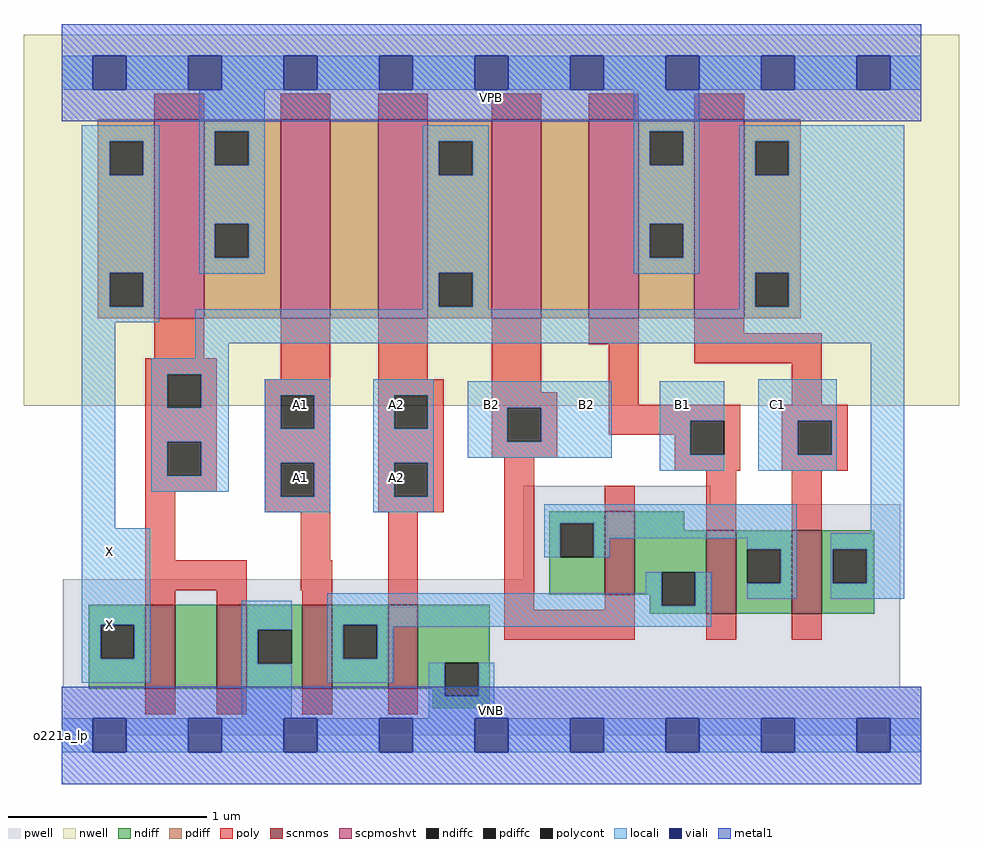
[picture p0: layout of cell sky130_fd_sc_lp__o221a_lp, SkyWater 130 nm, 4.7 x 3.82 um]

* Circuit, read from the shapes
.subckt sky130_fd_sc_lp__o221a_lp A1 A2 B1 B2 C1 VGND VNB VPB VPWR X
XM1 n1 n2 X VNB sky130_fd_pr__nfet_01v8 w=0.42 l=0.15
XM2 VGND n2 n1 VNB sky130_fd_pr__nfet_01v8 w=0.42 l=0.15
XM3 n3 A1 VGND VNB sky130_fd_pr__nfet_01v8 w=0.42 l=0.15
XM4 VGND A2 n3 VNB sky130_fd_pr__nfet_01v8 w=0.42 l=0.15
XM5 n3 B2 n4 VNB sky130_fd_pr__nfet_01v8 w=0.42 l=0.15
XM6 n4 B1 n3 VNB sky130_fd_pr__nfet_01v8 w=0.42 l=0.15
XM7 n2 C1 n4 VNB sky130_fd_pr__nfet_01v8 w=0.42 l=0.15
XM8 VPWR n2 X VPB sky130_fd_pr__pfet_01v8_hvt w=1 l=0.25
XM9 n5 A1 VPWR VPB sky130_fd_pr__pfet_01v8_hvt w=1 l=0.25
XM10 n2 A2 n5 VPB sky130_fd_pr__pfet_01v8_hvt w=1 l=0.25
XM11 n6 B2 n2 VPB sky130_fd_pr__pfet_01v8_hvt w=1 l=0.25
XM12 VPWR B1 n6 VPB sky130_fd_pr__pfet_01v8_hvt w=1 l=0.25
XM13 n2 C1 VPWR VPB sky130_fd_pr__pfet_01v8_hvt w=1 l=0.25
.ends

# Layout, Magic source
magic
tech sky130A
magscale 1 2
<< nwell >>
rect -38 331 902 704
<< pwell >>
rect 464 232 652 251
rect 464 157 843 232
rect 1 49 843 157
rect 0 0 864 49
<< scnmos >>
rect 84 47 114 131
rect 156 47 186 131
rect 242 47 272 131
rect 328 47 358 131
rect 546 141 576 225
rect 648 122 678 206
rect 734 122 764 206
<< scpmoshvt >>
rect 93 419 143 619
rect 220 419 270 619
rect 318 419 368 619
rect 432 419 482 619
rect 530 419 580 619
rect 636 419 686 619
<< ndiff >>
rect 27 111 84 131
rect 27 77 39 111
rect 73 77 84 111
rect 27 47 84 77
rect 114 47 156 131
rect 186 106 242 131
rect 186 72 197 106
rect 231 72 242 106
rect 186 47 242 72
rect 272 111 328 131
rect 272 77 283 111
rect 317 77 328 111
rect 272 47 328 77
rect 358 73 430 131
rect 490 213 546 225
rect 490 179 501 213
rect 535 179 546 213
rect 490 141 546 179
rect 576 206 626 225
rect 576 164 648 206
rect 576 141 603 164
rect 591 130 603 141
rect 637 130 648 164
rect 591 122 648 130
rect 678 187 734 206
rect 678 153 689 187
rect 723 153 734 187
rect 678 122 734 153
rect 764 187 817 206
rect 764 153 775 187
rect 809 153 817 187
rect 764 122 817 153
rect 358 47 385 73
rect 373 39 385 47
rect 419 39 430 73
rect 373 27 430 39
<< pdiff >>
rect 36 597 93 619
rect 36 563 48 597
rect 82 563 93 597
rect 36 465 93 563
rect 36 431 48 465
rect 82 431 93 465
rect 36 419 93 431
rect 143 607 220 619
rect 143 573 154 607
rect 188 573 220 607
rect 143 514 220 573
rect 143 480 154 514
rect 188 480 220 514
rect 143 419 220 480
rect 270 419 318 619
rect 368 597 432 619
rect 368 563 379 597
rect 413 563 432 597
rect 368 465 432 563
rect 368 431 379 465
rect 413 431 432 465
rect 368 419 432 431
rect 482 419 530 619
rect 580 607 636 619
rect 580 573 591 607
rect 625 573 636 607
rect 580 514 636 573
rect 580 480 591 514
rect 625 480 636 514
rect 580 419 636 480
rect 686 597 743 619
rect 686 563 697 597
rect 731 563 743 597
rect 686 465 743 563
rect 686 431 697 465
rect 731 431 743 465
rect 686 419 743 431
<< ndiffc >>
rect 39 77 73 111
rect 197 72 231 106
rect 283 77 317 111
rect 501 179 535 213
rect 603 130 637 164
rect 689 153 723 187
rect 775 153 809 187
rect 385 39 419 73
<< pdiffc >>
rect 48 563 82 597
rect 48 431 82 465
rect 154 573 188 607
rect 154 480 188 514
rect 379 563 413 597
rect 379 431 413 465
rect 591 573 625 607
rect 591 480 625 514
rect 697 563 731 597
rect 697 431 731 465
<< poly >>
rect 93 619 143 645
rect 220 619 270 645
rect 318 619 368 645
rect 432 619 482 645
rect 530 619 580 645
rect 636 619 686 645
rect 93 379 143 419
rect 84 363 156 379
rect 84 329 106 363
rect 140 329 156 363
rect 220 358 270 419
rect 84 295 156 329
rect 84 261 106 295
rect 140 261 156 295
rect 84 245 156 261
rect 204 342 270 358
rect 204 308 220 342
rect 254 308 270 342
rect 204 274 270 308
rect 84 176 114 245
rect 204 240 220 274
rect 254 240 270 274
rect 204 224 270 240
rect 318 358 368 419
rect 318 342 384 358
rect 318 308 334 342
rect 368 308 384 342
rect 318 274 384 308
rect 432 345 482 419
rect 530 393 580 419
rect 432 329 498 345
rect 432 295 448 329
rect 482 295 498 329
rect 550 332 580 393
rect 636 404 686 419
rect 636 374 764 404
rect 734 332 764 374
rect 550 316 682 332
rect 550 302 632 316
rect 432 279 498 295
rect 616 282 632 302
rect 666 282 682 316
rect 318 240 334 274
rect 368 240 384 274
rect 318 224 384 240
rect 240 176 270 224
rect 84 146 186 176
rect 240 146 272 176
rect 84 131 114 146
rect 156 131 186 146
rect 242 131 272 146
rect 328 131 358 224
rect 445 126 475 279
rect 616 266 682 282
rect 724 316 790 332
rect 724 282 740 316
rect 774 282 790 316
rect 724 266 790 282
rect 546 225 576 251
rect 648 206 678 266
rect 734 206 764 266
rect 546 126 576 141
rect 445 96 576 126
rect 648 96 678 122
rect 734 96 764 122
rect 84 21 114 47
rect 156 21 186 47
rect 242 21 272 47
rect 328 21 358 47
<< polycont >>
rect 106 329 140 363
rect 106 261 140 295
rect 220 308 254 342
rect 220 240 254 274
rect 334 308 368 342
rect 448 295 482 329
rect 632 282 666 316
rect 334 240 368 274
rect 740 282 774 316
<< locali >>
rect 0 649 31 683
rect 65 649 127 683
rect 161 649 223 683
rect 257 649 319 683
rect 353 649 415 683
rect 449 649 511 683
rect 545 649 607 683
rect 641 649 703 683
rect 737 649 799 683
rect 833 649 864 683
rect 20 597 98 613
rect 20 563 48 597
rect 82 563 98 597
rect 20 465 98 563
rect 20 431 48 465
rect 82 431 98 465
rect 138 607 204 649
rect 138 573 154 607
rect 188 573 204 607
rect 138 514 204 573
rect 138 480 154 514
rect 188 480 204 514
rect 138 464 204 480
rect 363 597 429 613
rect 363 563 379 597
rect 413 563 429 597
rect 363 465 429 563
rect 20 415 98 431
rect 363 431 379 465
rect 413 431 429 465
rect 575 607 641 649
rect 575 573 591 607
rect 625 573 641 607
rect 575 514 641 573
rect 575 480 591 514
rect 625 480 641 514
rect 575 464 641 480
rect 681 597 847 613
rect 681 563 697 597
rect 731 563 847 597
rect 681 465 847 563
rect 363 428 429 431
rect 681 431 697 465
rect 731 431 847 465
rect 681 428 847 431
rect 20 208 54 415
rect 134 394 847 428
rect 134 379 168 394
rect 90 363 168 379
rect 90 329 106 363
rect 140 329 168 363
rect 90 295 168 329
rect 90 261 106 295
rect 140 261 168 295
rect 90 245 168 261
rect 204 342 270 358
rect 204 308 220 342
rect 254 308 270 342
rect 204 274 270 308
rect 204 240 220 274
rect 254 240 270 274
rect 204 224 270 240
rect 313 342 374 358
rect 313 308 334 342
rect 368 308 374 342
rect 313 274 374 308
rect 408 329 553 356
rect 408 295 448 329
rect 482 295 553 329
rect 408 279 553 295
rect 601 316 666 356
rect 601 282 632 316
rect 313 240 334 274
rect 368 240 374 274
rect 601 266 666 282
rect 700 316 779 358
rect 700 282 740 316
rect 774 282 779 316
rect 700 266 779 282
rect 313 224 374 240
rect 485 213 739 232
rect 20 111 89 208
rect 485 179 501 213
rect 535 198 739 213
rect 813 203 847 394
rect 535 179 551 198
rect 689 187 739 198
rect 587 143 603 164
rect 20 77 39 111
rect 73 77 89 111
rect 20 53 89 77
rect 181 106 231 135
rect 181 72 197 106
rect 181 17 231 72
rect 267 130 603 143
rect 637 130 653 164
rect 723 153 739 187
rect 689 137 739 153
rect 773 187 847 203
rect 773 153 775 187
rect 809 153 847 187
rect 773 137 847 153
rect 267 111 653 130
rect 267 77 283 111
rect 317 109 653 111
rect 317 77 333 109
rect 267 53 333 77
rect 369 39 385 73
rect 419 39 435 73
rect 369 17 435 39
rect 0 -17 31 17
rect 65 -17 127 17
rect 161 -17 223 17
rect 257 -17 319 17
rect 353 -17 415 17
rect 449 -17 511 17
rect 545 -17 607 17
rect 641 -17 703 17
rect 737 -17 799 17
rect 833 -17 864 17
<< viali >>
rect 31 649 65 683
rect 127 649 161 683
rect 223 649 257 683
rect 319 649 353 683
rect 415 649 449 683
rect 511 649 545 683
rect 607 649 641 683
rect 703 649 737 683
rect 799 649 833 683
rect 31 -17 65 17
rect 127 -17 161 17
rect 223 -17 257 17
rect 319 -17 353 17
rect 415 -17 449 17
rect 511 -17 545 17
rect 607 -17 641 17
rect 703 -17 737 17
rect 799 -17 833 17
<< metal1 >>
rect 0 683 864 715
rect 0 649 31 683
rect 65 649 127 683
rect 161 649 223 683
rect 257 649 319 683
rect 353 649 415 683
rect 449 649 511 683
rect 545 649 607 683
rect 641 649 703 683
rect 737 649 799 683
rect 833 649 864 683
rect 0 617 864 649
rect 0 17 864 49
rect 0 -17 31 17
rect 65 -17 127 17
rect 161 -17 223 17
rect 257 -17 319 17
rect 353 -17 415 17
rect 449 -17 511 17
rect 545 -17 607 17
rect 641 -17 703 17
rect 737 -17 799 17
rect 833 -17 864 17
rect 0 -49 864 -17
<< labels >>
flabel pwell s 0 0 864 49 0 FreeSans 200 0 0 0 VNB
port 7 nsew ground bidirectional
flabel nwell s 0 617 864 666 0 FreeSans 200 0 0 0 VPB
port 8 nsew power bidirectional
rlabel comment s 0 0 0 0 4 o221a_lp
flabel metal1 s 0 617 864 666 0 FreeSans 340 0 0 0 VPWR
port 9 nsew power bidirectional
flabel metal1 s 0 0 864 49 0 FreeSans 340 0 0 0 VGND
port 6 nsew ground bidirectional
flabel locali s 703 316 737 350 0 FreeSans 340 0 0 0 C1
port 5 nsew signal input
flabel locali s 415 316 449 350 0 FreeSans 340 0 0 0 B2
port 4 nsew signal input
flabel locali s 607 316 641 350 0 FreeSans 340 0 0 0 B1
port 3 nsew signal input
flabel locali s 319 242 353 276 0 FreeSans 340 0 0 0 A2
port 2 nsew signal input
flabel locali s 319 316 353 350 0 FreeSans 340 0 0 0 A2
port 2 nsew signal input
flabel locali s 31 94 65 128 0 FreeSans 340 0 0 0 X
port 10 nsew signal output
flabel locali s 31 168 65 202 0 FreeSans 340 0 0 0 X
port 10 nsew signal output
flabel locali s 223 242 257 276 0 FreeSans 340 0 0 0 A1
port 1 nsew signal input
flabel locali s 223 316 257 350 0 FreeSans 340 0 0 0 A1
port 1 nsew signal input
flabel locali s 511 316 545 350 0 FreeSans 340 0 0 0 B2
port 4 nsew signal input
<< properties >>
string LEFsite unit
string LEFclass CORE
string FIXED_BBOX 0 0 864 666
string GDS_FILE $PDKPATH/libs.ref/sky130_fd_sc_lp/gds/sky130_fd_sc_lp.gds
string LEFsymmetry X Y R90
string GDS_END 4801028
string GDS_START 4793146
<< end >>
